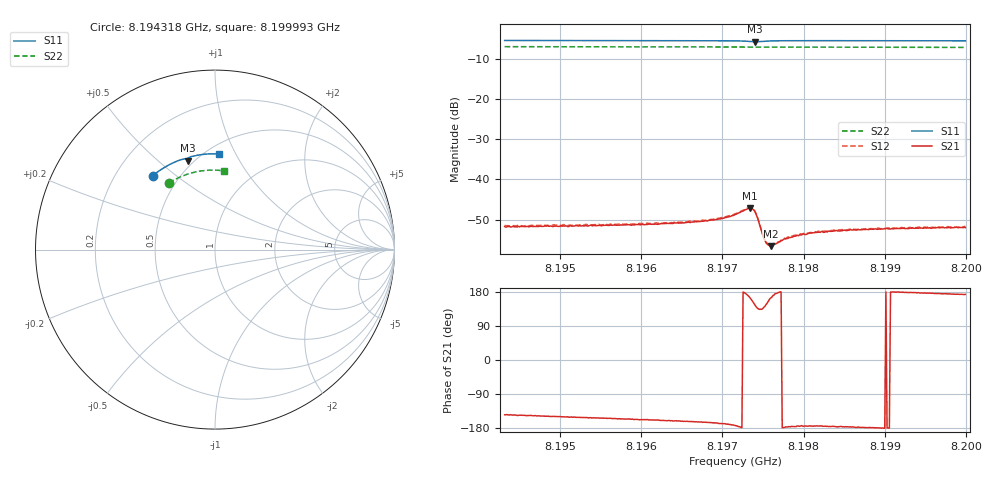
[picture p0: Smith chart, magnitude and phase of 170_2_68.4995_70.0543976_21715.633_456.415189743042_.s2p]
#  HZ  S  RI  R  50.00
! Rohde & Schwarz Vector Network Analyzer
! Rohde-Schwarz,ZNB20-2Port,1311601062101988,3.16
! Created: UTC 3/20/2024, 5:11:18 PM
! freq[Hz]  re:S11  im:S11  re:S21  im:S21  re:S12  im:S12  re:S22  im:S22
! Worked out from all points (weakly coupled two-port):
!   401 points, 8.194318 GHz to 8.199993 GHz, reference 50 ohm
!   highest |S21| = -47.14 dB at 8.19734 GHz (marker M1); lowest = -56.6 dB at 8.197595 GHz (marker M2)
!   lowest |S11| = -5.7 dB at 8.197397 GHz (marker M3), VSWR 3.15, Z = 23.3 + j31.5 ohm
!   |S11| at or under -10 dB: nowhere
!   |S22| runs from -7.1 to -6.9 dB; largest |S21 - S12| = 0.00022
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8.1943176e9  -0.3472 0.4115  -0.00211 -0.0015  -0.00221 -0.00148  -0.2564 0.3707
8.1952682e9  -0.2927 0.451  -0.00232 -0.00125  -0.00241 -0.00122  -0.2101 0.3971
8.1962189e9  -0.2333 0.4832  -0.00259 -0.00101  -0.00268 -0.00093  -0.161 0.4178
8.1968006e9  -0.1942 0.4994  -0.00294 -0.000819  -0.00304 -0.000718  -0.1298 0.4276
8.1969708e9  -0.1816 0.5033  -0.00315 -0.00069  -0.00325 -0.000591  -0.1204 0.4301
8.1971553e9  -0.1667 0.5062  -0.00362 -0.000466  -0.00372 -0.000306  -0.1103 0.4325
8.1972972e9  -0.1532 0.5041  -0.00423 0.000477  -0.00429 0.000656  -0.1023 0.4338
8.1973397e9  -0.1501 0.5005  -0.00423 0.00119  -0.00425 0.00142  -0.1 0.4341
8.1973681e9  -0.1499 0.4977  -0.00395 0.00177  -0.00395 0.00196  -0.0985 0.4343
8.1973965e9  -0.1516 0.4954  -0.00339 0.00222  -0.00332 0.00237  -0.0968 0.4347
8.1974249e9  -0.1543 0.4953  -0.00259 0.00232  -0.00256 0.00246  -0.0955 0.4348
8.1974958e9  -0.1569 0.502  -0.00147 0.00145  -0.00141 0.00154  -0.0919 0.4359
8.1975242e9  -0.1554 0.5048  -0.00138 0.00108  -0.00133 0.00112  -0.0903 0.4363
8.1975384e9  -0.1546 0.506  -0.00135 0.00089  -0.00134 0.000945  -0.0895 0.4364
8.1975668e9  -0.1525 0.5084  -0.00138 0.000625  -0.00139 0.000684  -0.0879 0.4367
8.1975951e9  -0.1503 0.5099  -0.00142 0.000412  -0.00143 0.000494  -0.0864 0.4369
8.1978222e9  -0.1324 0.5179  -0.00189 -0.000136  -0.00193 -6.3e-05  -0.0734 0.439
8.1979924e9  -0.1197 0.5213  -0.00208 -0.000178  -0.00211 -0.000148  -0.0639 0.4403
8.1981059e9  -0.1114 0.5231  -0.00216 -0.000213  -0.00217 -0.00015  -0.0576 0.4409
8.1984323e9  -0.088 0.5275  -0.00228 -0.00016  -0.00235 -0.000101  -0.039 0.4424
8.1990566e9  -0.0435 0.5324  -0.00243 -1.87e-05  -0.0025 0.000115  -0.00375 0.443
8.199993e9  0.0229 0.5327  -0.00249 0.000297  -0.00258 0.000431  0.0495 0.4384
